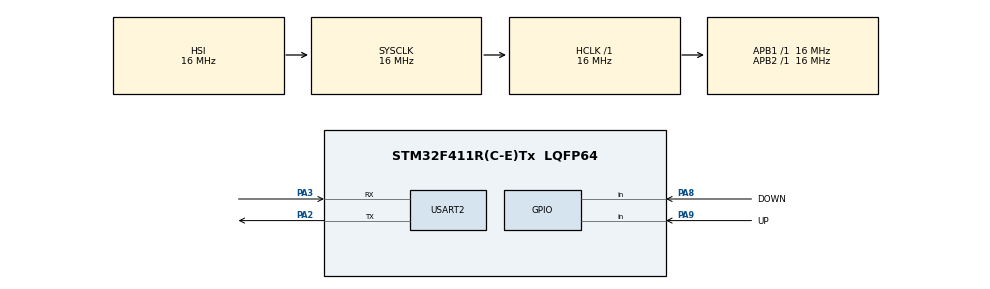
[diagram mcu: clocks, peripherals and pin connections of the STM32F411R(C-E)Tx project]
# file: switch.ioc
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Mcu.Family=STM32F4
Mcu.Name=STM32F411R(C-E)Tx
Mcu.Package=LQFP64
NVIC.PriorityGroup=NVIC_PRIORITYGROUP_4
NVIC.USART2_IRQn=true\:0\:0\:false\:false\:true\:true\:true\:true
PA2.Mode=Asynchronous
PA2.Signal=USART2_TX
PA3.Mode=Asynchronous
PA3.Signal=USART2_RX
PA8.GPIO_Label=DOWN
PA8.GPIO_PuPd=GPIO_PULLUP
PA8.Signal=GPIO_Input
PA9.GPIO_Label=UP
PA9.GPIO_PuPd=GPIO_PULLUP
PA9.Signal=GPIO_Input
ProjectManager.HeapSize=0x200
ProjectManager.StackSize=0x400
ProjectManager.TargetToolchain=STM32CubeIDE
RCC.AHBFreq_Value=16000000
RCC.APB1Freq_Value=16000000
RCC.APB2Freq_Value=16000000
RCC.CortexFreq_Value=16000000
RCC.HSE_VALUE=25000000
RCC.HSI_VALUE=16000000
RCC.LSE_VALUE=32768
RCC.SYSCLKFreq_VALUE=16000000
RCC.VCOOutputFreq_Value=192000000
USART2.VirtualMode=VM_ASYNC
board=custom

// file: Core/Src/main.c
/* USER CODE BEGIN Header */
/**
  ******************************************************************************
  * @file           : main.c
  * @brief          : Main program body
  ******************************************************************************
  * @attention
  *
  * Copyright (c) 2024 STMicroelectronics.
  * All rights reserved.
  *
  * This software is licensed under terms that can be found in the LICENSE file
  * in the root directory of this software component.
  * If no LICENSE file comes with this software, it is provided AS-IS.
  *
  ******************************************************************************
  */
/* USER CODE END Header */
#include "main.h"
#include "usart.h"
#include "gpio.h"

/* USER CODE BEGIN Includes */
#include "uart.h"
/* USER CODE END Includes */

void SystemClock_Config(void);

/* USER CODE BEGIN 0 */

_Bool stateSwitchA;
_Bool stateSwitchB;
void SystickCallback(){
	static uint32_t bufferSwitch[2];
	//update buffer
	bufferSwitch[0] = bufferSwitch[0] << 1 ;
	bufferSwitch[1]	= bufferSwitch[1] <<1;
	bufferSwitch[0] |= HAL_GPIO_ReadPin(UP_GPIO_Port, UP_Pin);
	bufferSwitch[1] |= HAL_GPIO_ReadPin(DOWN_GPIO_Port, DOWN_Pin);
	//judgement buffer
	if(bufferSwitch[0]==0)stateSwitchA &= 0b11111110;
	if(bufferSwitch[0]==0xffffffff) stateSwitchA |= 0x00000001;
	if(bufferSwitch[1]==0)stateSwitchB &= 0b11111101;
	if(bufferSwitch[1]==0xffffffff) stateSwitchB |= 0x00000010;

}
/* USER CODE END 0 */

int main(void)
{

  /* MCU Configuration--------------------------------------------------------*/

  /* Reset of all peripherals, Initializes the Flash interface and the Systick. */
  HAL_Init();

  /* Configure the system clock */
  SystemClock_Config();

  /* Initialize all configured peripherals */
  MX_GPIO_Init();
  MX_USART2_UART_Init();
  /* USER CODE BEGIN 2 */
  initUart(&huart2);
  /* USER CODE END 2 */

  /* Infinite loop */
  /* USER CODE BEGIN WHILE */
  while (1)
  {

  	static int count = 0;
  	static int oldStateA, oldStateB;
  	if(stateSwitchA != oldStateA){
  		if(stateSwitchA ==  0){
  			// ?���?
  			count++;
  			printf("%d\n", count);
  		}
  		else if(stateSwitchA == 1){
  			// ?��?��

  		}
  		oldStateA = stateSwitchA;
  	}
  	if(stateSwitchB != oldStateB){
  		if(stateSwitchB ==  0){
  			// ?���?
  			count--;
  			printf("%d\n", count);
  		}
  		else if(stateSwitchB == 1){
  			// ?��?��
  		}
  		oldStateB = stateSwitchB;
  	}

//  	if(HAL_GPIO_ReadPin(UP_GPIO_Port, UP_Pin)==0){
//  		//?��?�� 증�?
//
//  		//?���? 방식
//  		//while(HAL_GPIO_ReadPin(UP_GPIO_Port, UP_Pin)==0);
//  		count++;
//  		printf("%d\n", count);
//  	}
//
//  	if(HAL_GPIO_ReadPin(DOWN_GPIO_Port, DOWN_Pin)==0){
//  		//?��?�� 감소
//
//  		// ?���? 방식
//  		//while(HAL_GPIO_ReadPin(DOWN_GPIO_Port, DOWN_Pin)==0);
//  		count--;
//  		printf("%d\n", count);
//  	}
    /* USER CODE END WHILE */

  }
}

void SystemClock_Config(void)
{
  RCC_OscInitTypeDef RCC_OscInitStruct = {0};
  RCC_ClkInitTypeDef RCC_ClkInitStruct = {0};

  /** Configure the main internal regulator output voltage
  */
  __HAL_RCC_PWR_CLK_ENABLE();
  __HAL_PWR_VOLTAGESCALING_CONFIG(PWR_REGULATOR_VOLTAGE_SCALE1);

  /** Initializes the RCC Oscillators according to the specified parameters
  * in the RCC_OscInitTypeDef structure.
  */
  RCC_OscInitStruct.OscillatorType = RCC_OSCILLATORTYPE_HSI;
  RCC_OscInitStruct.HSIState = RCC_HSI_ON;
  RCC_OscInitStruct.HSICalibrationValue = RCC_HSICALIBRATION_DEFAULT;
  RCC_OscInitStruct.PLL.PLLState = RCC_PLL_NONE;
  if (HAL_RCC_OscConfig(&RCC_OscInitStruct) != HAL_OK)
  {
    Error_Handler();
  }

  /** Initializes the CPU, AHB and APB buses clocks
  */
  RCC_ClkInitStruct.ClockType = RCC_CLOCKTYPE_HCLK|RCC_CLOCKTYPE_SYSCLK
                              |RCC_CLOCKTYPE_PCLK1|RCC_CLOCKTYPE_PCLK2;
  RCC_ClkInitStruct.SYSCLKSource = RCC_SYSCLKSOURCE_HSI;
  RCC_ClkInitStruct.AHBCLKDivider = RCC_SYSCLK_DIV1;
  RCC_ClkInitStruct.APB1CLKDivider = RCC_HCLK_DIV1;
  RCC_ClkInitStruct.APB2CLKDivider = RCC_HCLK_DIV1;

  if (HAL_RCC_ClockConfig(&RCC_ClkInitStruct, FLASH_LATENCY_0) != HAL_OK)
  {
    Error_Handler();
  }
}

void Error_Handler(void)
{
  __disable_irq();
  while (1)
  {
  }
}
